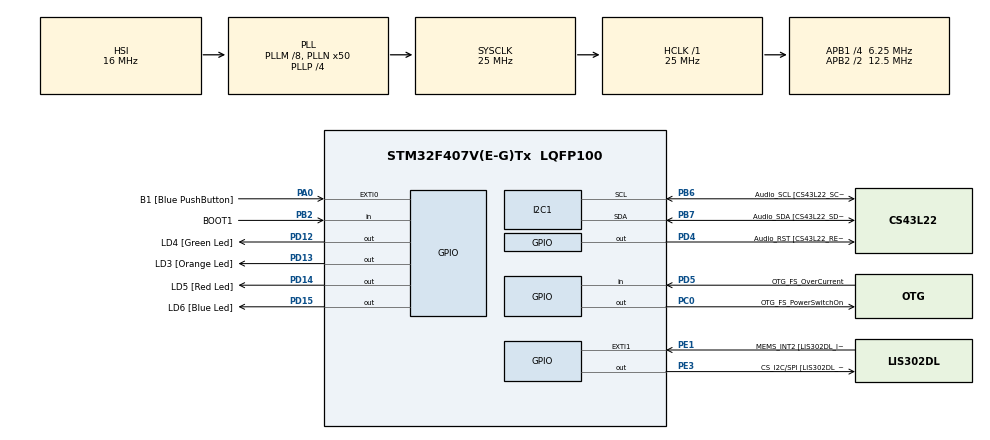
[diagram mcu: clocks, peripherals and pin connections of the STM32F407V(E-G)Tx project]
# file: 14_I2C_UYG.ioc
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I2C1.I2C_Mode=I2C_Fast
Mcu.Family=STM32F4
Mcu.Name=STM32F407V(E-G)Tx
Mcu.Package=LQFP100
NVIC.PriorityGroup=NVIC_PRIORITYGROUP_0
PA0-WKUP.GPIO_Label=B1 [Blue PushButton]
PA0-WKUP.Signal=GPXTI0
PA10.GPIO_Label=OTG_FS_ID
PA10.GPIO_Mode=GPIO_MODE_AF_PP
PA10.GPIO_PuPd=GPIO_NOPULL
PA10.GPIO_Speed=GPIO_SPEED_FREQ_LOW
PA10.Signal=USB_OTG_FS_ID
PA11.GPIO_Label=OTG_FS_DM
PA11.GPIO_Mode=GPIO_MODE_AF_PP
PA11.GPIO_PuPd=GPIO_NOPULL
PA11.GPIO_Speed=GPIO_SPEED_FREQ_LOW
PA11.Signal=USB_OTG_FS_DM
PA12.GPIO_Label=OTG_FS_DP
PA12.GPIO_Mode=GPIO_MODE_AF_PP
PA12.GPIO_PuPd=GPIO_NOPULL
PA12.GPIO_Speed=GPIO_SPEED_FREQ_LOW
PA12.Signal=USB_OTG_FS_DP
PA13.GPIO_Label=SWDIO
PA13.Signal=SYS_JTMS-SWDIO
PA14.GPIO_Label=SWCLK
PA14.Signal=SYS_JTCK-SWCLK
PA4.GPIO_Label=I2S3_WS [CS43L22_LRCK]
PA4.GPIO_Mode=GPIO_MODE_AF_PP
PA4.GPIO_PuPd=GPIO_NOPULL
PA4.GPIO_Speed=GPIO_SPEED_FREQ_LOW
PA4.Signal=I2S3_WS
PA5.GPIO_Label=SPI1_SCK [LIS302DL_SCL/SPC]
PA5.GPIO_Mode=GPIO_MODE_AF_PP
PA5.GPIO_PuPd=GPIO_NOPULL
PA5.GPIO_Speed=GPIO_SPEED_FREQ_LOW
PA5.Signal=SPI1_SCK
PA6.GPIO_Label=SPI1_MISO [LIS302DL_SDO]
PA6.GPIO_Mode=GPIO_MODE_AF_PP
PA6.GPIO_PuPd=GPIO_NOPULL
PA6.GPIO_Speed=GPIO_SPEED_FREQ_LOW
PA6.Signal=SPI1_MISO
PA7.GPIO_Label=SPI1_MOSI [LIS302DL_SDA/SDI/SDO]
PA7.GPIO_Mode=GPIO_MODE_AF_PP
PA7.GPIO_PuPd=GPIO_NOPULL
PA7.GPIO_Speed=GPIO_SPEED_FREQ_LOW
PA7.Signal=SPI1_MOSI
PA9.GPIO_Label=VBUS_FS
PA9.GPIO_Mode=GPIO_MODE_INPUT
PA9.GPIO_PuPd=GPIO_NOPULL
PA9.Signal=USB_OTG_FS_VBUS
PB10.GPIO_Label=CLK_IN [MP45DT02_CLK]
PB10.GPIO_Mode=GPIO_MODE_AF_PP
PB10.GPIO_PuPd=GPIO_NOPULL
PB10.GPIO_Speed=GPIO_SPEED_FREQ_LOW
PB10.Signal=I2S2_CK
PB2.GPIO_Label=BOOT1
PB2.GPIO_Mode=GPIO_MODE_INPUT
PB2.GPIO_PuPd=GPIO_NOPULL
PB2.Signal=GPIO_Input
PB3.GPIO_Label=SWO
PB3.Signal=SYS_JTDO-SWO
PB6.GPIO_Label=Audio_SCL [CS43L22_SCL]
PB6.GPIO_Mode=GPIO_MODE_AF_OD
PB6.GPIO_PuPd=GPIO_NOPULL
PB6.GPIO_Speed=GPIO_SPEED_FREQ_LOW
PB6.Mode=I2C
PB6.Signal=I2C1_SCL
PB7.GPIO_Label=Audio_SDA [CS43L22_SDA]
PB7.GPIO_Mode=GPIO_MODE_AF_OD
PB7.GPIO_Speed=GPIO_SPEED_FREQ_LOW
PB7.Mode=I2C
PB7.Signal=I2C1_SDA
PC0.GPIO_Label=OTG_FS_PowerSwitchOn
PC0.GPIO_PuPd=GPIO_NOPULL
PC0.GPIO_Speed=GPIO_SPEED_FREQ_LOW
PC0.PinState=GPIO_PIN_SET
PC0.Signal=GPIO_Output
PC10.GPIO_Label=I2S3_SCK [CS43L22_SCLK]
PC10.GPIO_Mode=GPIO_MODE_AF_PP
PC10.GPIO_PuPd=GPIO_NOPULL
PC10.GPIO_Speed=GPIO_SPEED_FREQ_LOW
PC10.Signal=I2S3_CK
PC12.GPIO_Label=I2S3_SD [CS43L22_SDIN]
PC12.GPIO_Mode=GPIO_MODE_AF_PP
PC12.GPIO_PuPd=GPIO_NOPULL
PC12.GPIO_Speed=GPIO_SPEED_FREQ_LOW
PC12.Signal=I2S3_SD
PC14-OSC32_IN.GPIO_Label=PC14-OSC32_IN
PC14-OSC32_IN.Signal=RCC_OSC32_IN
PC15-OSC32_OUT.GPIO_Label=PC15-OSC32_OUT
PC15-OSC32_OUT.Signal=RCC_OSC32_OUT
PC3.GPIO_Label=PDM_OUT [MP45DT02_DOUT]
PC3.GPIO_Mode=GPIO_MODE_AF_PP
PC3.GPIO_PuPd=GPIO_NOPULL
PC3.GPIO_Speed=GPIO_SPEED_FREQ_LOW
PC3.Signal=I2S2_SD
PC7.GPIO_Label=I2S3_MCK [CS43L22_MCLK]
PC7.GPIO_Mode=GPIO_MODE_AF_PP
PC7.GPIO_PuPd=GPIO_NOPULL
PC7.GPIO_Speed=GPIO_SPEED_FREQ_LOW
PC7.Signal=I2S3_MCK
PD12.GPIO_Label=LD4 [Green Led]
PD12.GPIO_PuPd=GPIO_NOPULL
PD12.GPIO_Speed=GPIO_SPEED_FREQ_LOW
PD12.Signal=GPIO_Output
PD13.GPIO_Label=LD3 [Orange Led]
PD13.GPIO_PuPd=GPIO_NOPULL
PD13.GPIO_Speed=GPIO_SPEED_FREQ_LOW
PD13.Signal=GPIO_Output
PD14.GPIO_Label=LD5 [Red Led]
PD14.GPIO_PuPd=GPIO_NOPULL
PD14.GPIO_Speed=GPIO_SPEED_FREQ_LOW
PD14.Signal=GPIO_Output
PD15.GPIO_Label=LD6 [Blue Led]
PD15.GPIO_PuPd=GPIO_NOPULL
PD15.GPIO_Speed=GPIO_SPEED_FREQ_LOW
PD15.Signal=GPIO_Output
PD4.GPIO_Label=Audio_RST [CS43L22_RESET]
PD4.GPIO_PuPd=GPIO_NOPULL
PD4.GPIO_Speed=GPIO_SPEED_FREQ_LOW
PD4.Signal=GPIO_Output
PD5.GPIO_Label=OTG_FS_OverCurrent
PD5.GPIO_Mode=GPIO_MODE_INPUT
PD5.GPIO_PuPd=GPIO_NOPULL
PD5.Signal=GPIO_Input
PE1.GPIO_Label=MEMS_INT2 [LIS302DL_INT2]
PE1.GPIO_ModeDefaultEXTI=GPIO_MODE_EVT_RISING
PE1.GPIO_PuPd=GPIO_NOPULL
PE1.Signal=GPXTI1
PE3.GPIO_Label=CS_I2C/SPI [LIS302DL_CS_I2C/SPI]
PE3.GPIO_PuPd=GPIO_NOPULL
PE3.GPIO_Speed=GPIO_SPEED_FREQ_LOW
PE3.Signal=GPIO_Output
PH0-OSC_IN.GPIO_Label=PH0-OSC_IN
PH0-OSC_IN.Signal=RCC_OSC_IN
PH1-OSC_OUT.GPIO_Label=PH1-OSC_OUT
PH1-OSC_OUT.Signal=RCC_OSC_OUT
ProjectManager.HeapSize=0x200
ProjectManager.StackSize=0x400
ProjectManager.TargetToolchain=STM32CubeIDE
RCC.48MHZClocksFreq_Value=14285714.285714285
RCC.AHBFreq_Value=25000000
RCC.APB1CLKDivider=RCC_HCLK_DIV4
RCC.APB1Freq_Value=6250000
RCC.APB1TimFreq_Value=12500000
RCC.APB2CLKDivider=RCC_HCLK_DIV2
RCC.APB2Freq_Value=12500000
RCC.APB2TimFreq_Value=25000000
RCC.CortexFreq_Value=25000000
RCC.HCLKFreq_Value=25000000
RCC.HSE_VALUE=8000000
RCC.HSI_VALUE=16000000
RCC.LSE_VALUE=32768
RCC.PLLM=8
RCC.PLLN=50
RCC.PLLP=RCC_PLLP_DIV4
RCC.PLLQ=7
RCC.SYSCLKFreq_VALUE=25000000
RCC.SYSCLKSource=RCC_SYSCLKSOURCE_PLLCLK
RCC.VCOOutputFreq_Value=100000000
board=STM32F407G-DISC1

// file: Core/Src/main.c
/* USER CODE BEGIN Header */
/**
  ******************************************************************************
  * @file           : main.c
  * @brief          : Main program body
  ******************************************************************************
  * @attention
  *
  * Copyright (c) 2026 STMicroelectronics.
  * All rights reserved.
  *
  * This software is licensed under terms that can be found in the LICENSE file
  * in the root directory of this software component.
  * If no LICENSE file comes with this software, it is provided AS-IS.
  *
  ******************************************************************************
  */
/* USER CODE END Header */
#include "main.h"

/* USER CODE BEGIN PD */
#define DS3231_WriteAdd 0xD0
#define DS3231_ReadAdd 0xD1

/* USER CODE END PD */

I2C_HandleTypeDef hi2c1;

/* USER CODE BEGIN PV */
typedef struct
{
	uint8_t second;
	uint8_t minute;
	uint8_t hour;
	uint8_t dayOfWeek;
	uint8_t dayOfMonth;
	uint8_t month;
	uint16_t year;
}DS3231_Time_t;

DS3231_Time_t instance;
/* USER CODE END PV */

void SystemClock_Config(void);
static void MX_GPIO_Init(void);
static void MX_I2C1_Init(void);

/* USER CODE BEGIN 0 */
uint8_t DEC_to_BCD(uint8_t value)
{
	return (uint8_t)((value/10)*16)+ (value%10);
	// return (uint8_t)((value/10)<<4)+ value%10
}
uint8_t BCD_to_DEC(uint8_t value)
{
	return (uint8_t)((value/16)*10)+ value%16;
}
void DS3231_Set_Time(uint8_t second,uint8_t minute,uint8_t hour,uint8_t dayOfWeek,uint8_t dayOfmonth,uint8_t month,uint8_t year)
{
	uint8_t time_data[7]={0};
	time_data[0]=DEC_to_BCD(second);
	time_data[1]=DEC_to_BCD(minute);
	time_data[2]=DEC_to_BCD(hour);
	time_data[3]=DEC_to_BCD(dayOfWeek);
	time_data[4]=DEC_to_BCD(dayOfmonth);
	time_data[5]=DEC_to_BCD(month);
	time_data[6]=DEC_to_BCD(year);

	HAL_I2C_Mem_Write(&hi2c1,DS3231_WriteAdd,0x00,1,time_data,sizeof(time_data),HAL_MAX_DELAY);

}
DS3231_Time_t DS3231_Get_Time(void)
{
	DS3231_Time_t ds3231Time={0};
	uint8_t recieve_time[7]={0};
	HAL_I2C_Mem_Read(&hi2c1,DS3231_ReadAdd,0x00,I2C_MEMADD_SIZE_8BIT,recieve_time,sizeof(recieve_time),HAL_MAX_DELAY);
	ds3231Time.second=BCD_to_DEC(recieve_time[0]);
	ds3231Time.minute=BCD_to_DEC(recieve_time[1]);
	ds3231Time.hour=BCD_to_DEC(recieve_time[2]);
	ds3231Time.dayOfWeek=BCD_to_DEC(recieve_time[3]);
	ds3231Time.dayOfMonth=BCD_to_DEC(recieve_time[4]);
	ds3231Time.month=BCD_to_DEC(recieve_time[5]);
	ds3231Time.year=BCD_to_DEC(recieve_time[6])+2000;
	return ds3231Time;

}

/* USER CODE END 0 */

int main(void)
{

  /* MCU Configuration--------------------------------------------------------*/

  /* Reset of all peripherals, Initializes the Flash interface and the Systick. */
  HAL_Init();

  /* Configure the system clock */
  SystemClock_Config();

  /* Initialize all configured peripherals */
  MX_GPIO_Init();
  MX_I2C1_Init();
  /* USER CODE BEGIN 2 */
  DS3231_Set_Time(0,0,9,2,15,9,26);

  /* USER CODE END 2 */

  /* Infinite loop */
  while (1)
  {

	  instance=DS3231_Get_Time();
	  HAL_Delay(3000); // 3'er sn arayla saymaya devam eder.
  }
}

void SystemClock_Config(void)
{
  RCC_OscInitTypeDef RCC_OscInitStruct = {0};
  RCC_ClkInitTypeDef RCC_ClkInitStruct = {0};

  /** Configure the main internal regulator output voltage
  */
  __HAL_RCC_PWR_CLK_ENABLE();
  __HAL_PWR_VOLTAGESCALING_CONFIG(PWR_REGULATOR_VOLTAGE_SCALE1);

  /** Initializes the RCC Oscillators according to the specified parameters
  * in the RCC_OscInitTypeDef structure.
  */
  RCC_OscInitStruct.OscillatorType = RCC_OSCILLATORTYPE_HSI;
  RCC_OscInitStruct.HSIState = RCC_HSI_ON;
  RCC_OscInitStruct.HSICalibrationValue = RCC_HSICALIBRATION_DEFAULT;
  RCC_OscInitStruct.PLL.PLLState = RCC_PLL_ON;
  RCC_OscInitStruct.PLL.PLLSource = RCC_PLLSOURCE_HSI;
  RCC_OscInitStruct.PLL.PLLM = 8;
  RCC_OscInitStruct.PLL.PLLN = 50;
  RCC_OscInitStruct.PLL.PLLP = RCC_PLLP_DIV4;
  RCC_OscInitStruct.PLL.PLLQ = 7;
  if (HAL_RCC_OscConfig(&RCC_OscInitStruct) != HAL_OK)
  {
    Error_Handler();
  }

  /** Initializes the CPU, AHB and APB buses clocks
  */
  RCC_ClkInitStruct.ClockType = RCC_CLOCKTYPE_HCLK|RCC_CLOCKTYPE_SYSCLK
                              |RCC_CLOCKTYPE_PCLK1|RCC_CLOCKTYPE_PCLK2;
  RCC_ClkInitStruct.SYSCLKSource = RCC_SYSCLKSOURCE_PLLCLK;
  RCC_ClkInitStruct.AHBCLKDivider = RCC_SYSCLK_DIV1;
  RCC_ClkInitStruct.APB1CLKDivider = RCC_HCLK_DIV4;
  RCC_ClkInitStruct.APB2CLKDivider = RCC_HCLK_DIV2;

  if (HAL_RCC_ClockConfig(&RCC_ClkInitStruct, FLASH_LATENCY_0) != HAL_OK)
  {
    Error_Handler();
  }
}

static void MX_I2C1_Init(void)
{

  hi2c1.Instance = I2C1;
  hi2c1.Init.ClockSpeed = 400000;
  hi2c1.Init.DutyCycle = I2C_DUTYCYCLE_2;
  hi2c1.Init.OwnAddress1 = 0;
  hi2c1.Init.AddressingMode = I2C_ADDRESSINGMODE_7BIT;
  hi2c1.Init.DualAddressMode = I2C_DUALADDRESS_DISABLE;
  hi2c1.Init.OwnAddress2 = 0;
  hi2c1.Init.GeneralCallMode = I2C_GENERALCALL_DISABLE;
  hi2c1.Init.NoStretchMode = I2C_NOSTRETCH_DISABLE;
  if (HAL_I2C_Init(&hi2c1) != HAL_OK)
  {
    Error_Handler();
  }

}

static void MX_GPIO_Init(void)
{
  GPIO_InitTypeDef GPIO_InitStruct = {0};

  /* GPIO Ports Clock Enable */
  __HAL_RCC_GPIOE_CLK_ENABLE();
  __HAL_RCC_GPIOC_CLK_ENABLE();
  __HAL_RCC_GPIOH_CLK_ENABLE();
  __HAL_RCC_GPIOA_CLK_ENABLE();
  __HAL_RCC_GPIOB_CLK_ENABLE();
  __HAL_RCC_GPIOD_CLK_ENABLE();

  /*Configure GPIO pin Output Level */
  HAL_GPIO_WritePin(CS_I2C_SPI_GPIO_Port, CS_I2C_SPI_Pin, GPIO_PIN_RESET);

  /*Configure GPIO pin Output Level */
  HAL_GPIO_WritePin(OTG_FS_PowerSwitchOn_GPIO_Port, OTG_FS_PowerSwitchOn_Pin, GPIO_PIN_SET);

  /*Configure GPIO pin Output Level */
  HAL_GPIO_WritePin(GPIOD, LD4_Pin|LD3_Pin|LD5_Pin|LD6_Pin
                          |Audio_RST_Pin, GPIO_PIN_RESET);

  /*Configure GPIO pin : CS_I2C_SPI_Pin */
  GPIO_InitStruct.Pin = CS_I2C_SPI_Pin;
  GPIO_InitStruct.Mode = GPIO_MODE_OUTPUT_PP;
  GPIO_InitStruct.Pull = GPIO_NOPULL;
  GPIO_InitStruct.Speed = GPIO_SPEED_FREQ_LOW;
  HAL_GPIO_Init(CS_I2C_SPI_GPIO_Port, &GPIO_InitStruct);

  /*Configure GPIO pin : OTG_FS_PowerSwitchOn_Pin */
  GPIO_InitStruct.Pin = OTG_FS_PowerSwitchOn_Pin;
  GPIO_InitStruct.Mode = GPIO_MODE_OUTPUT_PP;
  GPIO_InitStruct.Pull = GPIO_NOPULL;
  GPIO_InitStruct.Speed = GPIO_SPEED_FREQ_LOW;
  HAL_GPIO_Init(OTG_FS_PowerSwitchOn_GPIO_Port, &GPIO_InitStruct);

  /*Configure GPIO pin : PDM_OUT_Pin */
  GPIO_InitStruct.Pin = PDM_OUT_Pin;
  GPIO_InitStruct.Mode = GPIO_MODE_AF_PP;
  GPIO_InitStruct.Pull = GPIO_NOPULL;
  GPIO_InitStruct.Speed = GPIO_SPEED_FREQ_LOW;
  GPIO_InitStruct.Alternate = GPIO_AF5_SPI2;
  HAL_GPIO_Init(PDM_OUT_GPIO_Port, &GPIO_InitStruct);

  /*Configure GPIO pin : B1_Pin */
  GPIO_InitStruct.Pin = B1_Pin;
  GPIO_InitStruct.Mode = GPIO_MODE_IT_RISING;
  GPIO_InitStruct.Pull = GPIO_NOPULL;
  HAL_GPIO_Init(B1_GPIO_Port, &GPIO_InitStruct);

  /*Configure GPIO pin : I2S3_WS_Pin */
  GPIO_InitStruct.Pin = I2S3_WS_Pin;
  GPIO_InitStruct.Mode = GPIO_MODE_AF_PP;
  GPIO_InitStruct.Pull = GPIO_NOPULL;
  GPIO_InitStruct.Speed = GPIO_SPEED_FREQ_LOW;
  GPIO_InitStruct.Alternate = GPIO_AF6_SPI3;
  HAL_GPIO_Init(I2S3_WS_GPIO_Port, &GPIO_InitStruct);

  /*Configure GPIO pins : SPI1_SCK_Pin SPI1_MISO_Pin SPI1_MOSI_Pin */
  GPIO_InitStruct.Pin = SPI1_SCK_Pin|SPI1_MISO_Pin|SPI1_MOSI_Pin;
  GPIO_InitStruct.Mode = GPIO_MODE_AF_PP;
  GPIO_InitStruct.Pull = GPIO_NOPULL;
  GPIO_InitStruct.Speed = GPIO_SPEED_FREQ_LOW;
  GPIO_InitStruct.Alternate = GPIO_AF5_SPI1;
  HAL_GPIO_Init(GPIOA, &GPIO_InitStruct);

  /*Configure GPIO pin : BOOT1_Pin */
  GPIO_InitStruct.Pin = BOOT1_Pin;
  GPIO_InitStruct.Mode = GPIO_MODE_INPUT;
  GPIO_InitStruct.Pull = GPIO_NOPULL;
  HAL_GPIO_Init(BOOT1_GPIO_Port, &GPIO_InitStruct);

  /*Configure GPIO pin : CLK_IN_Pin */
  GPIO_InitStruct.Pin = CLK_IN_Pin;
  GPIO_InitStruct.Mode = GPIO_MODE_AF_PP;
  GPIO_InitStruct.Pull = GPIO_NOPULL;
  GPIO_InitStruct.Speed = GPIO_SPEED_FREQ_LOW;
  GPIO_InitStruct.Alternate = GPIO_AF5_SPI2;
  HAL_GPIO_Init(CLK_IN_GPIO_Port, &GPIO_InitStruct);

  /*Configure GPIO pins : LD4_Pin LD3_Pin LD5_Pin LD6_Pin
                           Audio_RST_Pin */
  GPIO_InitStruct.Pin = LD4_Pin|LD3_Pin|LD5_Pin|LD6_Pin
                          |Audio_RST_Pin;
  GPIO_InitStruct.Mode = GPIO_MODE_OUTPUT_PP;
  GPIO_InitStruct.Pull = GPIO_NOPULL;
  GPIO_InitStruct.Speed = GPIO_SPEED_FREQ_LOW;
  HAL_GPIO_Init(GPIOD, &GPIO_InitStruct);

  /*Configure GPIO pins : I2S3_MCK_Pin I2S3_SCK_Pin I2S3_SD_Pin */
  GPIO_InitStruct.Pin = I2S3_MCK_Pin|I2S3_SCK_Pin|I2S3_SD_Pin;
  GPIO_InitStruct.Mode = GPIO_MODE_AF_PP;
  GPIO_InitStruct.Pull = GPIO_NOPULL;
  GPIO_InitStruct.Speed = GPIO_SPEED_FREQ_LOW;
  GPIO_InitStruct.Alternate = GPIO_AF6_SPI3;
  HAL_GPIO_Init(GPIOC, &GPIO_InitStruct);

  /*Configure GPIO pin : VBUS_FS_Pin */
  GPIO_InitStruct.Pin = VBUS_FS_Pin;
  GPIO_InitStruct.Mode = GPIO_MODE_INPUT;
  GPIO_InitStruct.Pull = GPIO_NOPULL;
  HAL_GPIO_Init(VBUS_FS_GPIO_Port, &GPIO_InitStruct);

  /*Configure GPIO pins : OTG_FS_ID_Pin OTG_FS_DM_Pin OTG_FS_DP_Pin */
  GPIO_InitStruct.Pin = OTG_FS_ID_Pin|OTG_FS_DM_Pin|OTG_FS_DP_Pin;
  GPIO_InitStruct.Mode = GPIO_MODE_AF_PP;
  GPIO_InitStruct.Pull = GPIO_NOPULL;
  GPIO_InitStruct.Speed = GPIO_SPEED_FREQ_LOW;
  GPIO_InitStruct.Alternate = GPIO_AF10_OTG_FS;
  HAL_GPIO_Init(GPIOA, &GPIO_InitStruct);

  /*Configure GPIO pin : OTG_FS_OverCurrent_Pin */
  GPIO_InitStruct.Pin = OTG_FS_OverCurrent_Pin;
  GPIO_InitStruct.Mode = GPIO_MODE_INPUT;
  GPIO_InitStruct.Pull = GPIO_NOPULL;
  HAL_GPIO_Init(OTG_FS_OverCurrent_GPIO_Port, &GPIO_InitStruct);

  /*Configure GPIO pin : MEMS_INT2_Pin */
  GPIO_InitStruct.Pin = MEMS_INT2_Pin;
  GPIO_InitStruct.Mode = GPIO_MODE_EVT_RISING;
  GPIO_InitStruct.Pull = GPIO_NOPULL;
  HAL_GPIO_Init(MEMS_INT2_GPIO_Port, &GPIO_InitStruct);

}

void Error_Handler(void)
{
  __disable_irq();
  while (1)
  {
  }
}
